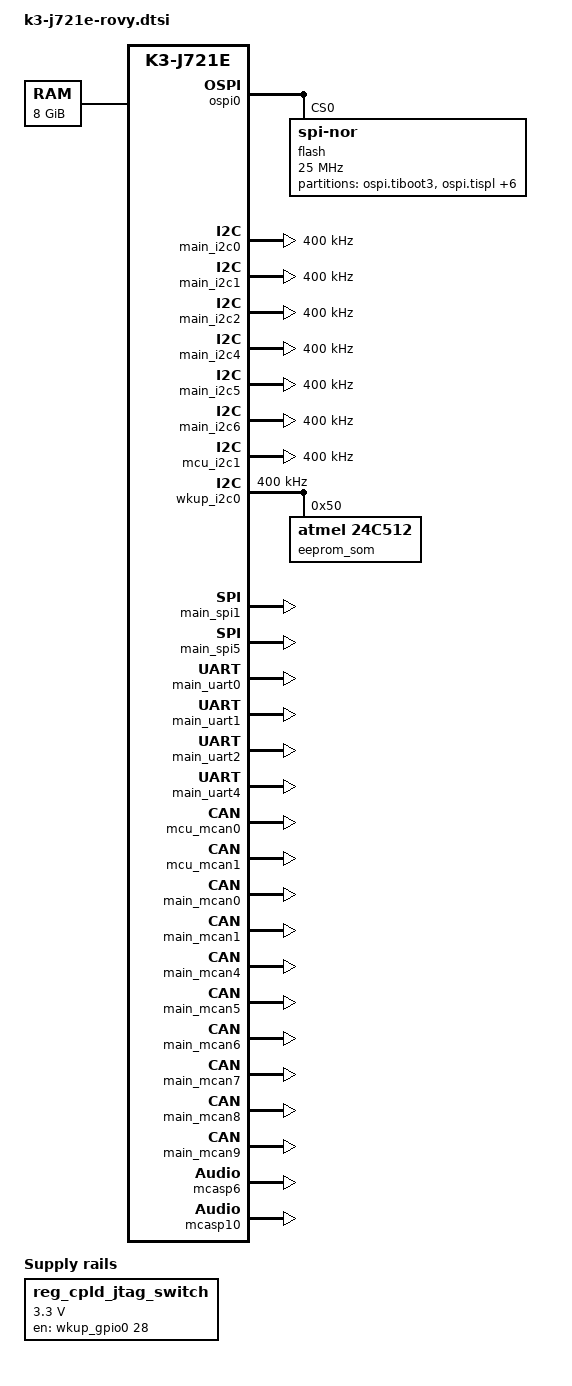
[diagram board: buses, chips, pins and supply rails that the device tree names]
// SPDX-License-Identifier: GPL-2.0
/*
 * Copyright (C) 2019 Texas Instruments Incorporated - https://www.ti.com/
 * Copyright (C) 2023 TechNexion Ltd.
 *
 * Author: Richard Hu <richard.hu@technexion.com>
 *         John Weber <John.weber@technexion.com>
 */

/dts-v1/;

#include "k3-j721e.dtsi"
#include <dt-bindings/gpio/gpio.h>

/ {
	memory@80000000 {
		device_type = "memory";
		/* 8G RAM */
		reg = <0x00000000 0x80000000 0x00000000 0x80000000>,
		      <0x00000008 0x80000000 0x00000001 0x80000000>;
	};

	reserved_memory: reserved-memory {
		#address-cells = <2>;
		#size-cells = <2>;
		ranges;

		/* global cma region */
		linux,cma {
			compatible = "shared-dma-pool";
			reusable;
			size = <0x00 0x20000000>;
			linux,cma-default;
		};

		secure_ddr: optee@9e800000 {
			reg = <0x00 0x9e800000 0x00 0x01800000>;
			alignment = <0x1000>;
			no-map;
		};

		mcu_r5fss0_core0_dma_memory_region: r5f-dma-memory@a0000000 {
			compatible = "shared-dma-pool";
			reg = <0x00 0xa0000000 0x00 0x100000>;
			no-map;
		};

		mcu_r5fss0_core0_memory_region: r5f-memory@a0100000 {
			compatible = "shared-dma-pool";
			reg = <0x00 0xa0100000 0x00 0xf00000>;
			no-map;
		};

		mcu_r5fss0_core1_dma_memory_region: r5f-dma-memory@a1000000 {
			compatible = "shared-dma-pool";
			reg = <0x00 0xa1000000 0x00 0x100000>;
			no-map;
		};

		mcu_r5fss0_core1_memory_region: r5f-memory@a1100000 {
			compatible = "shared-dma-pool";
			reg = <0x00 0xa1100000 0x00 0xf00000>;
			no-map;
		};

		main_r5fss0_core0_dma_memory_region: r5f-dma-memory@a2000000 {
			compatible = "shared-dma-pool";
			reg = <0x00 0xa2000000 0x00 0x100000>;
			no-map;
		};

		main_r5fss0_core0_memory_region: r5f-memory@a2100000 {
			compatible = "shared-dma-pool";
			reg = <0x00 0xa2100000 0x00 0xf00000>;
			no-map;
		};

		main_r5fss0_core1_dma_memory_region: r5f-dma-memory@a3000000 {
			compatible = "shared-dma-pool";
			reg = <0x00 0xa3000000 0x00 0x100000>;
			no-map;
		};

		main_r5fss0_core1_memory_region: r5f-memory@a3100000 {
			compatible = "shared-dma-pool";
			reg = <0x00 0xa3100000 0x00 0xf00000>;
			no-map;
		};

		main_r5fss1_core0_dma_memory_region: r5f-dma-memory@a4000000 {
			compatible = "shared-dma-pool";
			reg = <0x00 0xa4000000 0x00 0x100000>;
			no-map;
		};

		main_r5fss1_core0_memory_region: r5f-memory@a4100000 {
			compatible = "shared-dma-pool";
			reg = <0x00 0xa4100000 0x00 0xf00000>;
			no-map;
		};

		main_r5fss1_core1_dma_memory_region: r5f-dma-memory@a5000000 {
			compatible = "shared-dma-pool";
			reg = <0x00 0xa5000000 0x00 0x100000>;
			no-map;
		};

		main_r5fss1_core1_memory_region: r5f-memory@a5100000 {
			compatible = "shared-dma-pool";
			reg = <0x00 0xa5100000 0x00 0xf00000>;
			no-map;
		};

		c66_1_dma_memory_region: c66-dma-memory@a6000000 {
			compatible = "shared-dma-pool";
			reg = <0x00 0xa6000000 0x00 0x100000>;
			no-map;
		};

		c66_0_memory_region: c66-memory@a6100000 {
			compatible = "shared-dma-pool";
			reg = <0x00 0xa6100000 0x00 0xf00000>;
			no-map;
		};

		c66_0_dma_memory_region: c66-dma-memory@a7000000 {
			compatible = "shared-dma-pool";
			reg = <0x00 0xa7000000 0x00 0x100000>;
			no-map;
		};

		c66_1_memory_region: c66-memory@a7100000 {
			compatible = "shared-dma-pool";
			reg = <0x00 0xa7100000 0x00 0xf00000>;
			no-map;
		};

		c71_0_dma_memory_region: c71-dma-memory@a8000000 {
			compatible = "shared-dma-pool";
			reg = <0x00 0xa8000000 0x00 0x100000>;
			no-map;
		};

		c71_0_memory_region: c71-memory@a8100000 {
			compatible = "shared-dma-pool";
			reg = <0x00 0xa8100000 0x00 0xf00000>;
			no-map;
		};

		rtos_ipc_memory_region: ipc-memories@aa000000 {
			reg = <0x00 0xaa000000 0x00 0x01c00000>;
			alignment = <0x1000>;
			no-map;
		};
	};

	reg_cpld_jtag_switch: cpld_jtag_switch {
		compatible = "regulator-fixed";
		regulator-name = "cpld_jtag_switch";
		pinctrl-names = "default";
		pinctrl-0 = <&mcu_cpld_jtag_switch_control_pins_default>;
		regulator-min-microvolt = <3300000>;
		regulator-max-microvolt = <3300000>;
		gpio = <&wkup_gpio0 28 GPIO_ACTIVE_HIGH>;
		enable-active-high;
		regulator-always-on;
	};
};

&main_pmx0 {
	main_i2c0_pins_default: main-i2c0-pins-default { /* I2C_A */
		pinctrl-single,pins = <
			J721E_IOPAD(0x220, PIN_INPUT_PULLUP, 0) /* (AC5) I2C0_SCL */
			J721E_IOPAD(0x224, PIN_INPUT_PULLUP, 0) /* (AA5) I2C0_SDA */
		>;
	};

	main_i2c1_pins_default: main-i2c1-pins-default { /* I2C_B */
		pinctrl-single,pins = <
			J721E_IOPAD(0x228, PIN_INPUT_PULLUP, 0) /* (Y6) I2C1_SCL */
			J721E_IOPAD(0x22c, PIN_INPUT_PULLUP, 0) /* (AA6) I2C1_SDA */
		>;
	};

	main_i2c2_pins_default: main-i2c2-pins-default { /* I2C_C */
		pinctrl-single,pins = <
			J721E_IOPAD(0x1c8, PIN_INPUT_PULLUP, 2) /* (AB5) SPI0_CLK.I2C2_SCL */
			J721E_IOPAD(0x1cc, PIN_INPUT_PULLUP, 2) /* (AA1) SPI0_D0.I2C2_SDA */
		>;
	};

	main_i2c4_pins_default: main-i2c-pins-default { /* I2C_D */
		pinctrl-single,pins = <
			J721E_IOPAD(0xa8, PIN_INPUT_PULLUP, 2) /* (AD19) PRG1_MDIO0_MDIO.I2C4_SCL */
			J721E_IOPAD(0xac, PIN_INPUT_PULLUP, 2) /* (AD18) PRG1_MDIO0_MDC.I2C4_SDA */
		>;
	};

	main_i2c5_pins_default: main-i2c5-pins-default { /* I2C_E */
		pinctrl-single,pins = <
			J721E_IOPAD(0x150, PIN_INPUT_PULLUP, 2) /* (Y26) PRG0_MDIO0_MDIO.I2C5_SCL */
			J721E_IOPAD(0x154, PIN_INPUT_PULLUP, 2) /* (AA27) PRG0_MDIO0_MDC.I2C5_SDA */
		>;
	};

	main_i2c6_pins_default: main-i2c6-pins-default { /* I2C_F */
		pinctrl-single,pins = <
			J721E_IOPAD(0x170, PIN_INPUT_PULLUP, 2) /* (U29) RGMII5_TXC.I2C6_SCL */
			J721E_IOPAD(0x174, PIN_INPUT_PULLUP, 2) /* (U25) RGMII5_RXC.I2C6_SDA */
		>;
	};

	main_spi1_pins_default: main-spi1-pins-default { /* SPI_A */
		pinctrl-single,pins = <
			J721E_IOPAD(0x1dc, PIN_OUTPUT, 0) /* (Y1) SPI1_CLK */
			J721E_IOPAD(0x1d4, PIN_OUTPUT, 0) /* (Y3) SPI1_CS0 */
			J721E_IOPAD(0x1d8, PIN_OUTPUT, 0) /* (W4) SPI1_CS1 */
			J721E_IOPAD(0x1e0, PIN_OUTPUT, 0) /* (Y5) SPI1_D0 */
			J721E_IOPAD(0x1e4, PIN_INPUT, 0) /* (Y2) SPI1_D1 */
		>;
	};

	main_spi5_pins_default: main-spi5-pins-default { /* SPI_B */
		pinctrl-single,pins = <
			J721E_IOPAD(0x1a0, PIN_OUTPUT, 3) /* (W29) RGMII6_TXC.SPI5_CLK */
			J721E_IOPAD(0x19c, PIN_INPUT, 3) /* (W27) RGMII6_TD0.SPI5_CS0 */
			J721E_IOPAD(0x1b4, PIN_OUTPUT, 3) /* (W25) RGMII6_RD0.SPI5_CS1 */
			J721E_IOPAD(0x198, PIN_OUTPUT, 3) /* (V25) RGMII6_TD1.SPI5_D0 */
			J721E_IOPAD(0x1b0, PIN_INPUT, 3) /* (W24) RGMII6_RD1.SPI5_D1 */
		>;
	};

	main_uart0_pins_default: main-uart0-pins-default {
		pinctrl-single,pins = <
			J721E_IOPAD(0x1f0, PIN_INPUT, 0) /* (AC2) UART0_CTSn */
			J721E_IOPAD(0x1f4, PIN_OUTPUT, 0) /* (AB1) UART0_RTSn */
			J721E_IOPAD(0x1e8, PIN_INPUT, 0) /* (AB2) UART0_RXD */
			J721E_IOPAD(0x1ec, PIN_OUTPUT, 0) /* (AB3) UART0_TXD */
		>;
	};

	main_uart1_pins_default: main-uart1-pins-default {
		pinctrl-single,pins = <
			J721E_IOPAD(0x200, PIN_INPUT, 0) /* (AC4) UART1_CTSn */
			J721E_IOPAD(0x204, PIN_OUTPUT, 0) /* (AD5) UART1_RTSn */
			J721E_IOPAD(0x1f8, PIN_INPUT, 0) /* (AA4) UART1_RXD */
			J721E_IOPAD(0x1fc, PIN_OUTPUT, 0) /* (AB4) UART1_TXD */
		>;
	};

	main_uart2_pins_default: main-uart2-pins-default {
		pinctrl-single,pins = <
			J721E_IOPAD(0x138, PIN_INPUT, 14) /* (AE25) PRG0_PRU1_GPO14.UART2_CTSn */
			J721E_IOPAD(0x13c, PIN_OUTPUT, 14) /* (AF29) PRG0_PRU1_GPO15.UART2_RTSn */
			J721E_IOPAD(0x148, PIN_INPUT, 14) /* (AA26) PRG0_PRU1_GPO18.UART2_RXD */
			J721E_IOPAD(0x11c, PIN_OUTPUT, 14) /* (AA24) PRG0_PRU1_GPO7.UART2_TXD */
		>;
	};

	main_uart4_pins_default: main-uart4-pins-default {
		pinctrl-single,pins = <
			J721E_IOPAD(0x100, PIN_INPUT, 8) /* (AE29) PRG0_PRU1_GPO0.UART4_CTSn */
			J721E_IOPAD(0x104, PIN_OUTPUT, 8) /* (AD28) PRG0_PRU1_GPO1.UART4_RTSn */
			J721E_IOPAD(0xe8, PIN_INPUT, 8) /* (AG28) PRG0_PRU0_GPO14.UART4_RXD */
			J721E_IOPAD(0xec, PIN_OUTPUT, 8) /* (AG27) PRG0_PRU0_GPO15.UART4_TXD */
		>;
	};

	main_mcan0_pins_default: main-mcan0-pins-default {
		pinctrl-single,pins = <
			J721E_IOPAD(0x208, PIN_INPUT, 0) /* (W5) MCAN0_RX */
			J721E_IOPAD(0x20c, PIN_OUTPUT, 0) /* (W6) MCAN0_TX */
		>;
	};

	main_mcan1_pins_default: main-mcan1-pins-default {
		pinctrl-single,pins = <
			J721E_IOPAD(0x210, PIN_INPUT, 0) /* (W3) MCAN1_RX */
			J721E_IOPAD(0x214, PIN_OUTPUT, 0) /* (V4) MCAN1_TX */
		>;
	};

	main_mcan4_pins_default: main-mcan4-pins-default {
		pinctrl-single,pins = <
			J721E_IOPAD(0x24, PIN_INPUT, 6) /* (AJ20) PRG1_PRU0_GPO8.MCAN4_RX */
			J721E_IOPAD(0x20, PIN_OUTPUT, 6) /* (AE20) PRG1_PRU0_GPO7.MCAN4_TX */
		>;
	};

	main_mcan5_pins_default: main-mcan5-pins-default {
		pinctrl-single,pins = <
			J721E_IOPAD(0x50, PIN_INPUT, 6) /* (AE21) PRG1_PRU0_GPO18.MCAN5_RX */
			J721E_IOPAD(0x4c, PIN_OUTPUT, 6) /* (AJ21) PRG1_PRU0_GPO17.MCAN5_TX */
		>;
	};

	main_mcan6_pins_default: main-mcan6-pins-default {
		pinctrl-single,pins = <
			J721E_IOPAD(0x44, PIN_INPUT, 6) /* (AE24) PRG1_PRU0_GPO16.MCAN6_RX */
			J721E_IOPAD(0x40, PIN_OUTPUT, 6) /* (AC24) PRG1_PRU0_GPO15.MCAN6_TX */
		>;
	};

	main_mcan7_pins_default: main-mcan7-pins-default {
		pinctrl-single,pins = <
			J721E_IOPAD(0x8c, PIN_INPUT, 6) /* (AG25) PRG1_PRU1_GPO13.MCAN7_RX */
			J721E_IOPAD(0x88, PIN_OUTPUT, 6) /* (AH25) PRG1_PRU1_GPO12.MCAN7_TX */
		>;
	};

	main_mcan8_pins_default: main-mcan8-pins-default {
		pinctrl-single,pins = <
			J721E_IOPAD(0x94, PIN_INPUT, 6) /* (AJ27) PRG1_PRU1_GPO15.MCAN8_RX */
			J721E_IOPAD(0x90, PIN_OUTPUT, 6) /* (AH26) PRG1_PRU1_GPO14.MCAN8_TX */
		>;
	};

	main_mcan9_pins_default: main-mcan9-pins-default {
		pinctrl-single,pins = <
			J721E_IOPAD(0xd0, PIN_INPUT, 6) /* (AC27) PRG0_PRU0_GPO8.MCAN9_RX */
			J721E_IOPAD(0xcc, PIN_OUTPUT, 6) /* (AC28) PRG0_PRU0_GPO7.MCAN9_TX */
		>;
	};

	mcasp6_pins_default: mcasp6-pins-default { /* AUD_A */
		pinctrl-single,pins = <
			J721E_IOPAD(0x4, PIN_INPUT, 12) /* (AC23) PRG1_PRU0_GPO0.MCASP6_ACLKX */
			J721E_IOPAD(0x8, PIN_INPUT, 12) /* (AG22) PRG1_PRU0_GPO1.MCASP6_AFSX */
			J721E_IOPAD(0xc, PIN_OUTPUT, 12) /* (AF22) PRG1_PRU0_GPO2.MCASP6_AXR0 */
			J721E_IOPAD(0x10, PIN_INPUT, 12) /* (AJ23) PRG1_PRU0_GPO3.MCASP6_AXR1 */
		>;
	};

	mcasp10_pins_default: mcasp10-pins-default { /* AUD_B */
		pinctrl-single,pins = <
			J721E_IOPAD(0x158, PIN_OUTPUT, 12) /* (U23) RGMII5_TX_CTL.MCASP10_ACLKX */
			J721E_IOPAD(0x15c, PIN_OUTPUT, 12) /* (U26) RGMII5_RX_CTL.MCASP10_AFSX */
			J721E_IOPAD(0x160, PIN_OUTPUT, 12) /* (V28) RGMII5_TD3.MCASP10_AXR0 */
			J721E_IOPAD(0x164, PIN_INPUT, 12) /* (V29) RGMII5_TD2.MCASP10_AXR1 */
		>;
	};

	dsi_pwr_en_pins_default: dsi-pwr-en-pins-default { /* DSI0_PWR_EN */
		pinctrl-single,pins = <
			J721E_IOPAD(0x70, PIN_OUTPUT_PULLUP, 7) /* (AE23) PRG1_PRU1_GPO6.GPIO0_27 */
		>;
	};
};

&wkup_pmx0 {
	wkup_i2c0_pins_default: wkup-i2c0-pins-default {
		pinctrl-single,pins = <
			J721E_WKUP_IOPAD(0xf8, PIN_INPUT_PULLUP, 0) /* (J25) WKUP_I2C0_SCL */
			J721E_WKUP_IOPAD(0xfc, PIN_INPUT_PULLUP, 0) /* (H24) WKUP_I2C0_SDA */
		>;
	};

	mcu_i2c1_pins_default: mcu-i2c1-pins-default {
		pinctrl-single,pins = <
			J721E_WKUP_IOPAD(0xc8, PIN_INPUT, 3) /* (F29) WKUP_GPIO0_6.MCU_I2C1_SCL */
			J721E_WKUP_IOPAD(0xd4, PIN_INPUT, 0) /* (G26) WKUP_GPIO0_9.MCU_I2C1_SDA */
		>;
	};

	mcu_fss0_ospi0_pins_default: mcu-fss0-ospi0-pins-default {
		pinctrl-single,pins = <
			J721E_WKUP_IOPAD(0x0000, PIN_OUTPUT, 0) /* MCU_OSPI0_CLK */
			J721E_WKUP_IOPAD(0x0008, PIN_INPUT, 0)  /* MCU_OSPI0_DQS */
			J721E_WKUP_IOPAD(0x000c, PIN_INPUT, 0)  /* MCU_OSPI0_D0 */
			J721E_WKUP_IOPAD(0x0010, PIN_INPUT, 0)  /* MCU_OSPI0_D1 */
			J721E_WKUP_IOPAD(0x0014, PIN_INPUT, 0)  /* MCU_OSPI0_D2 */
			J721E_WKUP_IOPAD(0x0018, PIN_INPUT, 0)  /* MCU_OSPI0_D3 */
			J721E_WKUP_IOPAD(0x001c, PIN_INPUT, 0)  /* MCU_OSPI0_D4 */
			J721E_WKUP_IOPAD(0x0020, PIN_INPUT, 0)  /* MCU_OSPI0_D5 */
			J721E_WKUP_IOPAD(0x0024, PIN_INPUT, 0)  /* MCU_OSPI0_D6 */
			J721E_WKUP_IOPAD(0x0028, PIN_INPUT, 0)  /* MCU_OSPI0_D7 */
			J721E_WKUP_IOPAD(0x002c, PIN_OUTPUT, 0) /* MCU_OSPI0_CSn0 */
		>;
	};

	mcu_mcan0_pins_default: mcu-mcan0-pins-default {
		pinctrl-single,pins = <
			J721E_WKUP_IOPAD(0xac, PIN_INPUT, 0) /* (C29) MCU_MCAN0_RX */
			J721E_WKUP_IOPAD(0xa8, PIN_OUTPUT, 0) /* (D29) MCU_MCAN0_TX */
		>;
	};

	mcu_mcan0_gpio_pins_default: mcu-mcan0-gpio-pins-default {
		pinctrl-single,pins = <
			J721E_WKUP_IOPAD(0xb0, PIN_INPUT, 7) /* (F26) WKUP_GPIO0_0 */
			J721E_WKUP_IOPAD(0x98, PIN_INPUT, 7) /* (E28) MCU_SPI0_D1.WKUP_GPIO0_54 */
		>;
	};

	mcu_mcan1_pins_default: mcu-mcan1-pins-default {
		pinctrl-single,pins = <
			J721E_WKUP_IOPAD(0xc4, PIN_INPUT, 0) /* (G24) WKUP_GPIO0_5.MCU_MCAN1_RX */
			J721E_WKUP_IOPAD(0xc0, PIN_OUTPUT, 0) /* (G25) WKUP_GPIO0_4.MCU_MCAN1_TX */
		>;
	};

	mcu_eeprom_som_wp_pins_default: mcu-eeprom-som-wp-pins-default {
		pinctrl-single,pins = <
			J721E_WKUP_IOPAD(0x108, PIN_OUTPUT, 7) /* (E26) PMIC_POWER_EN0.WKUP_GPIO0_66 */
		>;
	};

	mcu_cpld_jtag_switch_control_pins_default: mcu-cpld-jtag-switch-control-pins-default {
		pinctrl-single,pins = <
			J721E_WKUP_IOPAD(0x30, PIN_OUTPUT, 7) /* (E19) MCU_OSPI0_CSn1.WKUP_GPIO0_28 */
		>;
	};

	mcu_spi0_pins_default: mcu_spi0_pins_default {
		pinctrl-single,pins = <
			J721E_WKUP_IOPAD(0x90, PIN_INPUT, 0) /* (E27) MCU_SPI0_CLK */
			J721E_WKUP_IOPAD(0x9c, PIN_INPUT, 0) /* (E25) MCU_SPI0_CS0 */
			J721E_WKUP_IOPAD(0x94, PIN_INPUT, 0) /* (E24) MCU_SPI0_D0 */
			J721E_WKUP_IOPAD(0x98, PIN_INPUT, 0) /* (E28) MCU_SPI0_D1 */
		>;
	};
};

&ospi0 {
	pinctrl-names = "default";
	pinctrl-0 = <&mcu_fss0_ospi0_pins_default>;

	flash@0 {
		compatible = "jedec,spi-nor";
		reg = <0x0>;
		spi-tx-bus-width = <8>;
		spi-rx-bus-width = <8>;
		spi-max-frequency = <25000000>;
		cdns,tshsl-ns = <60>;
		cdns,tsd2d-ns = <60>;
		cdns,tchsh-ns = <60>;
		cdns,tslch-ns = <60>;
		cdns,read-delay = <0>;

		partitions {
			compatible = "fixed-partitions";
			#address-cells = <1>;
			#size-cells = <1>;

			partition@0 {
				label = "ospi.tiboot3";
				reg = <0x0 0x80000>;
			};

			partition@80000 {
				label = "ospi.tispl";
				reg = <0x80000 0x200000>;
			};

			partition@280000 {
				label = "ospi.u-boot";
				reg = <0x280000 0x400000>;
			};

			partition@680000 {
				label = "ospi.env";
				reg = <0x680000 0x20000>;
			};

			partition@6a0000 {
				label = "ospi.env.backup";
				reg = <0x6a0000 0x20000>;
			};

			partition@6c0000 {
				label = "ospi.sysfw";
				reg = <0x6c0000 0x100000>;
			};

			partition@800000 {
				label = "ospi.rootfs";
				reg = <0x800000 0x37c0000>;
			};

			partition@3fe0000 {
				label = "ospi.phypattern";
				reg = <0x3fe0000 0x20000>;
			};
		};
	};
};

&mailbox0_cluster0 {
	status = "okay";
	interrupts = <436>;

	mbox_mcu_r5fss0_core0: mbox-mcu-r5fss0-core0 {
		ti,mbox-rx = <0 0 0>;
		ti,mbox-tx = <1 0 0>;
	};

	mbox_mcu_r5fss0_core1: mbox-mcu-r5fss0-core1 {
		ti,mbox-rx = <2 0 0>;
		ti,mbox-tx = <3 0 0>;
	};
};

&mailbox0_cluster1 {
	status = "okay";
	interrupts = <432>;

	mbox_main_r5fss0_core0: mbox-main-r5fss0-core0 {
		ti,mbox-rx = <0 0 0>;
		ti,mbox-tx = <1 0 0>;
	};

	mbox_main_r5fss0_core1: mbox-main-r5fss0-core1 {
		ti,mbox-rx = <2 0 0>;
		ti,mbox-tx = <3 0 0>;
	};
};

&mailbox0_cluster2 {
	status = "okay";
	interrupts = <428>;

	mbox_main_r5fss1_core0: mbox-main-r5fss1-core0 {
		ti,mbox-rx = <0 0 0>;
		ti,mbox-tx = <1 0 0>;
	};

	mbox_main_r5fss1_core1: mbox-main-r5fss1-core1 {
		ti,mbox-rx = <2 0 0>;
		ti,mbox-tx = <3 0 0>;
	};
};

&mailbox0_cluster3 {
	status = "okay";
	interrupts = <424>;

	mbox_c66_0: mbox-c66-0 {
		ti,mbox-rx = <0 0 0>;
		ti,mbox-tx = <1 0 0>;
	};

	mbox_c66_1: mbox-c66-1 {
		ti,mbox-rx = <2 0 0>;
		ti,mbox-tx = <3 0 0>;
	};
};

&mailbox0_cluster4 {
	status = "okay";
	interrupts = <420>;

	mbox_c71_0: mbox-c71-0 {
		ti,mbox-rx = <0 0 0>;
		ti,mbox-tx = <1 0 0>;
	};
};

&mcu_r5fss0_core0 {
	mboxes = <&mailbox0_cluster0 &mbox_mcu_r5fss0_core0>;
	memory-region = <&mcu_r5fss0_core0_dma_memory_region>,
			<&mcu_r5fss0_core0_memory_region>;
};

&mcu_r5fss0_core1 {
	mboxes = <&mailbox0_cluster0 &mbox_mcu_r5fss0_core1>;
	memory-region = <&mcu_r5fss0_core1_dma_memory_region>,
			<&mcu_r5fss0_core1_memory_region>;
};

&main_r5fss0_core0 {
	mboxes = <&mailbox0_cluster1 &mbox_main_r5fss0_core0>;
	memory-region = <&main_r5fss0_core0_dma_memory_region>,
			<&main_r5fss0_core0_memory_region>;
};

&main_r5fss0_core1 {
	mboxes = <&mailbox0_cluster1 &mbox_main_r5fss0_core1>;
	memory-region = <&main_r5fss0_core1_dma_memory_region>,
			<&main_r5fss0_core1_memory_region>;
};

&main_r5fss1_core0 {
	mboxes = <&mailbox0_cluster2 &mbox_main_r5fss1_core0>;
	memory-region = <&main_r5fss1_core0_dma_memory_region>,
			<&main_r5fss1_core0_memory_region>;
};

&main_r5fss1_core1 {
	mboxes = <&mailbox0_cluster2 &mbox_main_r5fss1_core1>;
	memory-region = <&main_r5fss1_core1_dma_memory_region>,
			<&main_r5fss1_core1_memory_region>;
};

&c66_0 {
	mboxes = <&mailbox0_cluster3 &mbox_c66_0>;
	memory-region = <&c66_0_dma_memory_region>,
			<&c66_0_memory_region>;
};

&c66_1 {
	mboxes = <&mailbox0_cluster3 &mbox_c66_1>;
	memory-region = <&c66_1_dma_memory_region>,
			<&c66_1_memory_region>;
};

&c71_0 {
	mboxes = <&mailbox0_cluster4 &mbox_c71_0>;
	memory-region = <&c71_0_dma_memory_region>,
			<&c71_0_memory_region>;
};

&main_i2c0 { /* I2C_A */
	status = "okay";
	pinctrl-names = "default";
	pinctrl-0 = <&main_i2c0_pins_default>;
	clock-frequency = <400000>;
};

&main_i2c1 { /* I2C_B */
	status = "okay";
	pinctrl-names = "default";
	pinctrl-0 = <&main_i2c1_pins_default>;
	clock-frequency = <400000>;
};

&main_i2c2 { /* I2C_C */
	status = "okay";
	pinctrl-names = "default";
	pinctrl-0 = <&main_i2c2_pins_default>;
	clock-frequency = <400000>;
};

&main_i2c3 {
	/* Unused */
	status = "disabled";
};

&main_i2c4 { /* I2C_D */
	status = "okay";
	pinctrl-names = "default";
	pinctrl-0 = <&main_i2c4_pins_default>;
	clock-frequency = <400000>;
};

&main_i2c5 { /* I2C_E */
	status = "okay";
	pinctrl-names = "default";
	pinctrl-0 = <&main_i2c5_pins_default>;
	clock-frequency = <400000>;
};

&main_i2c6 { /* I2C_F */
	status = "okay";
	pinctrl-names = "default";
	pinctrl-0 = <&main_i2c6_pins_default>;
	clock-frequency = <400000>;
};

&mcu_i2c1 {
	status = "okay";
	pinctrl-names = "default";
	pinctrl-0 = <&mcu_i2c1_pins_default>;
	clock-frequency = <400000>;
};

&wkup_i2c0 {
	pinctrl-names = "default";
	pinctrl-0 = <&wkup_i2c0_pins_default>;
	clock-frequency = <400000>;
	status = "okay";

	eeprom_som: eeprom@50 {
		compatible = "atmel,24c512";
		pinctrl-names = "default";
		pinctrl-0 = <&mcu_eeprom_som_wp_pins_default>;
		//wp-gpios = <&wkup_gpio0 66 GPIO_ACTIVE_HIGH>;
		reg = <0x50>;
		pagesize = <128>;
		status = "okay";
	};
};

&main_spi1 { /* SPI_A */
	status = "okay";
	pinctrl-names = "default";
	pinctrl-0 = <&main_spi1_pins_default>;
	ti,pindir-d0-out-d1-in = <1>;    /* MOSI on D0, MISO on D1 */
	ti,spi-num-cs = <2>;
	cs-gpios = <0>, <0>;    /* 2 Native CS0,1 */
};

&main_spi5 { /* SPI_B */
	status = "okay";
	pinctrl-names = "default";
	pinctrl-0 = <&main_spi5_pins_default>;
	ti,pindir-d0-out-d1-in = <1>;    /* MOSI on D0, MISO on D1 */
	ti,spi-num-cs = <2>;
	cs-gpios = <0>, <0>;    /* 2 Native CS0,1 */
};

&main_uart0 { /* UART_A */
	status = "okay";
	pinctrl-names = "default";
	pinctrl-0 = <&main_uart0_pins_default>;
	/* Shared with ATF on this platform */
	power-domains = <&k3_pds 146 TI_SCI_PD_SHARED>;
};

&main_uart1 { /* UART_B */
	status = "okay";
	pinctrl-names = "default";
	pinctrl-0 = <&main_uart1_pins_default>;
};

&main_uart2 { /* UART_C */
	status = "okay";
	pinctrl-names = "default";
	pinctrl-0 = <&main_uart2_pins_default>;
};

&main_uart3 {
	/* UART not brought out */
	status = "disabled";
};

&main_uart4 { /* UART_D */
	status = "okay";
	pinctrl-names = "default";
	pinctrl-0 = <&main_uart4_pins_default>;
};

&main_uart5 {
	/* UART not brought out */
	status = "disabled";
};

&main_uart6 {
	/* UART not brought out */
	status = "disabled";
};

&main_uart7 {
	/* UART not brought out */
	status = "disabled";
};

&main_uart8 {
	/* UART not brought out */
	status = "disabled";
};

&main_uart9 {
	/* UART not brought out */
	status = "disabled";
};

&mcu_mcan0 { /* MCU_CAN0 */
	status = "okay";
	pinctrl-names = "default";
	pinctrl-0 = <&mcu_mcan0_pins_default>;
};

&mcu_mcan1 { /* MCU_CAN1 */
	status = "okay";
	pinctrl-names = "default";
	pinctrl-0 = <&mcu_mcan1_pins_default>;
};

&main_mcan0 { /* SOC_CAN_A */
	status = "okay";
	pinctrl-names = "default";
	pinctrl-0 = <&main_mcan0_pins_default>;
};

&main_mcan1 { /* SOC_CAN_B */
	status = "okay";
	pinctrl-names = "default";
	pinctrl-0 = <&main_mcan1_pins_default>;
};

&main_mcan2 {
	status = "disabled";
};

&main_mcan3 {
	status = "disabled";
};

&main_mcan4 { /* SOC_CAN_C */
	status = "okay";
	pinctrl-names = "default";
	pinctrl-0 = <&main_mcan4_pins_default>;
};

&main_mcan5 { /* SOC_CAN_D */
	status = "okay";
	pinctrl-names = "default";
	pinctrl-0 = <&main_mcan5_pins_default>;
};

&main_mcan6 { /* SOC_CAN_E */
	status = "okay";
	pinctrl-names = "default";
	pinctrl-0 = <&main_mcan6_pins_default>;
};

&main_mcan7 { /* SOC_CAN_F */
	status = "okay";
	pinctrl-names = "default";
	pinctrl-0 = <&main_mcan7_pins_default>;
};

&main_mcan8 { /* SOC_CAN_G */
	status = "okay";
	pinctrl-names = "default";
	pinctrl-0 = <&main_mcan8_pins_default>;
};

&main_mcan9 { /* SOC_CAN_H */
	status = "okay";
	pinctrl-names = "default";
	pinctrl-0 = <&main_mcan9_pins_default>;
};

&main_mcan10 {
	status = "disabled";
};

&main_mcan11 {
	status = "disabled";
};

&main_mcan12 {
	status = "disabled";
};

&main_mcan13 {
	status = "disabled";
};

&mcasp0 { /* Unused */
	status = "disabled";
};

&mcasp1 { /* Unused */
	status = "disabled";
};

&mcasp2 { /* Unused */
	status = "disabled";
};

&mcasp3 { /* Unused */
	status = "disabled";
};

&mcasp4 { /* Unused */
	status = "disabled";
};

&mcasp5 { /* Unused */
	status = "disabled";
};

&mcasp6 { /* AUD_A */
	status = "okay";
	#sound-dai-cells = <0>;

	pinctrl-names = "default";
	pinctrl-0 = <&mcasp6_pins_default>;

	op-mode = <0>;          /* MCASP_IIS_MODE */
	tdm-slots = <2>;

	serial-dir = <  /* 0: INACTIVE, 1: TX, 2: RX */
		1 2 0 0
		0 0 0 0
		0 0 0 0
		0 0 0 0
	>;
	tx-num-evt = <32>;
	rx-num-evt = <32>;
};

&mcasp7 { /* Unused */
	status = "disabled";
};

&mcasp8 { /* Unused */
	status = "disabled";
};

&mcasp9 { /* Unused */
	status = "disabled";
};

&mcasp10 { /* AUD_B */
	status = "okay";
	#sound-dai-cells = <0>;

	pinctrl-names = "default";
	pinctrl-0 = <&mcasp10_pins_default>;

	op-mode = <0>;          /* MCASP_IIS_MODE */
	tdm-slots = <2>;
	//auxclk-fs-ratio = <256>;

	serial-dir = <	/* 0: INACTIVE, 1: TX, 2: RX */
		1 2 0 0
		0 0 0 0
		0 0 0 0
		0 0 0 0
	>;
	tx-num-evt = <32>;
	rx-num-evt = <32>;
};

&mcasp11 { /* Unused */
	status = "disabled";
};
